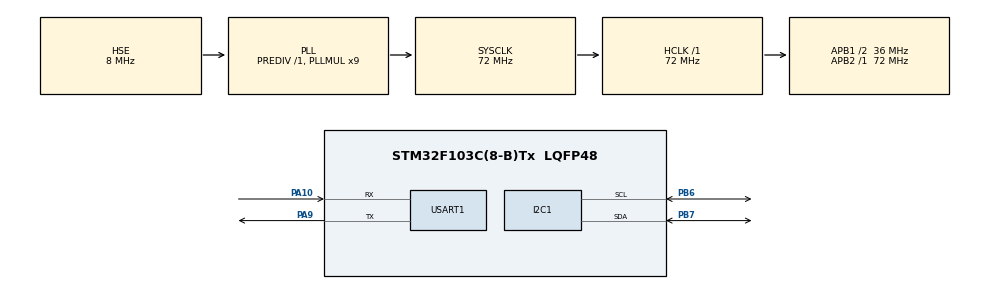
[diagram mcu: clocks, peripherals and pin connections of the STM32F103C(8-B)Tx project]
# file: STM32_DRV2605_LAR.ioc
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Mcu.Family=STM32F1
Mcu.Name=STM32F103C(8-B)Tx
Mcu.Package=LQFP48
NVIC.PriorityGroup=NVIC_PRIORITYGROUP_4
NVIC.USART1_IRQn=true\:0\:0\:false\:false\:true\:true\:true
PA10.Mode=Asynchronous
PA10.Signal=USART1_RX
PA13.Mode=Serial_Wire
PA13.Signal=SYS_JTMS-SWDIO
PA14.Mode=Serial_Wire
PA14.Signal=SYS_JTCK-SWCLK
PA9.Mode=Asynchronous
PA9.Signal=USART1_TX
PB6.Mode=I2C
PB6.Signal=I2C1_SCL
PB7.Mode=I2C
PB7.Signal=I2C1_SDA
PC14-OSC32_IN.Mode=LSE-External-Oscillator
PC14-OSC32_IN.Signal=RCC_OSC32_IN
PC15-OSC32_OUT.Mode=LSE-External-Oscillator
PC15-OSC32_OUT.Signal=RCC_OSC32_OUT
PD0-OSC_IN.Mode=HSE-External-Oscillator
PD0-OSC_IN.Signal=RCC_OSC_IN
PD1-OSC_OUT.Mode=HSE-External-Oscillator
PD1-OSC_OUT.Signal=RCC_OSC_OUT
ProjectManager.HeapSize=0x200
ProjectManager.StackSize=0x400
ProjectManager.TargetToolchain=STM32CubeIDE
RCC.AHBFreq_Value=72000000
RCC.APB1CLKDivider=RCC_HCLK_DIV2
RCC.APB1Freq_Value=36000000
RCC.APB1TimFreq_Value=72000000
RCC.APB2Freq_Value=72000000
RCC.APB2TimFreq_Value=72000000
RCC.HCLKFreq_Value=72000000
RCC.PLLMUL=RCC_PLL_MUL9
RCC.PLLSourceVirtual=RCC_PLLSOURCE_HSE
RCC.SYSCLKFreq_VALUE=72000000
RCC.SYSCLKSource=RCC_SYSCLKSOURCE_PLLCLK
RCC.USBFreq_Value=72000000
USART1.VirtualMode=VM_ASYNC
board=custom

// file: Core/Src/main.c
/* USER CODE BEGIN Header */
/**
  ******************************************************************************
  * @file           : main.c
  * @brief          : Main program body
  ******************************************************************************
  * @attention
  *
  * <h2><center>&copy; Copyright (c) 2025 STMicroelectronics.
  * All rights reserved.</center></h2>
  *
  * This software component is licensed by ST under BSD 3-Clause license,
  * the "License"; You may not use this file except in compliance with the
  * License. You may obtain a copy of the License at:
  *                        opensource.org/licenses/BSD-3-Clause
  *
  ******************************************************************************
  */
/* USER CODE END Header */
#include "main.h"
#include "i2c.h"
#include "usart.h"
#include "gpio.h"

/* USER CODE BEGIN Includes */
#include "drv2605_simple.h"
/* USER CODE END Includes */

void SystemClock_Config(void);

/* USER CODE BEGIN 0 */
// 重定向printf
#ifdef __GNUC__
#define PUTCHAR_PROTOTYPE int __io_putchar(int ch)
#else
#define PUTCHAR_PROTOTYPE int fputc(int ch, FILE *f)
#endif

PUTCHAR_PROTOTYPE
{
    HAL_UART_Transmit(&huart1, (uint8_t *)&ch, 1, HAL_MAX_DELAY);
    return ch;
}
/* USER CODE END 0 */

int main(void)
{
  /* USER CODE BEGIN 1 */
	// 在main函数开始处
	printf("DRV2605简单测试开始\r\n");

	// 检查I2C通信
	uint8_t dev_id;
	if(HAL_I2C_Mem_Read(&hi2c1, DRV2605_ADDR, 0x00, 1, &dev_id, 1, 100) == HAL_OK)
	{
	    printf("设备ID: 0x%02X (应该是0x06或0x07)\r\n", dev_id);
	}
	else
	{
	    printf("I2C通信失败！检查接线\r\n");
	}
  /* USER CODE END 1 */

  /* MCU Configuration--------------------------------------------------------*/

  /* Reset of all peripherals, Initializes the Flash interface and the Systick. */
  HAL_Init();

  /* Configure the system clock */
  SystemClock_Config();

  /* Initialize all configured peripherals */
  MX_GPIO_Init();
  MX_I2C1_Init();
  MX_USART1_UART_Init();
  /* USER CODE BEGIN 2 */
  // 初始化DRV2605
  if(DRV2605_SimpleInit(&hi2c1))
  {
      printf("DRV2605初始化成功！\r\n");
  }
  else
  {
      printf("DRV2605初始化失败！\r\n");
      while(1); // 停止在这里
  }
  /* USER CODE END 2 */

  /* Infinite loop */
  while (1)
  {
      printf("开始振动测试...\r\n");

      // 高强度振动
      DRV2605_SimpleVibrate(&hi2c1, 0x7F);
      HAL_Delay(1000);

      // 停止振动
      DRV2605_SimpleVibrate(&hi2c1, 0x00);
      HAL_Delay(500);

      // 中等强度振动
      DRV2605_SimpleVibrate(&hi2c1, 0x50);
      HAL_Delay(1000);

      // 停止振动
      DRV2605_SimpleVibrate(&hi2c1, 0x00);
      HAL_Delay(500);

  }
}

void SystemClock_Config(void)
{
  RCC_OscInitTypeDef RCC_OscInitStruct = {0};
  RCC_ClkInitTypeDef RCC_ClkInitStruct = {0};

  /** Initializes the RCC Oscillators according to the specified parameters
  * in the RCC_OscInitTypeDef structure.
  */
  RCC_OscInitStruct.OscillatorType = RCC_OSCILLATORTYPE_HSE;
  RCC_OscInitStruct.HSEState = RCC_HSE_ON;
  RCC_OscInitStruct.HSEPredivValue = RCC_HSE_PREDIV_DIV1;
  RCC_OscInitStruct.HSIState = RCC_HSI_ON;
  RCC_OscInitStruct.PLL.PLLState = RCC_PLL_ON;
  RCC_OscInitStruct.PLL.PLLSource = RCC_PLLSOURCE_HSE;
  RCC_OscInitStruct.PLL.PLLMUL = RCC_PLL_MUL9;
  if (HAL_RCC_OscConfig(&RCC_OscInitStruct) != HAL_OK)
  {
    Error_Handler();
  }
  /** Initializes the CPU, AHB and APB buses clocks
  */
  RCC_ClkInitStruct.ClockType = RCC_CLOCKTYPE_HCLK|RCC_CLOCKTYPE_SYSCLK
                              |RCC_CLOCKTYPE_PCLK1|RCC_CLOCKTYPE_PCLK2;
  RCC_ClkInitStruct.SYSCLKSource = RCC_SYSCLKSOURCE_PLLCLK;
  RCC_ClkInitStruct.AHBCLKDivider = RCC_SYSCLK_DIV1;
  RCC_ClkInitStruct.APB1CLKDivider = RCC_HCLK_DIV2;
  RCC_ClkInitStruct.APB2CLKDivider = RCC_HCLK_DIV1;

  if (HAL_RCC_ClockConfig(&RCC_ClkInitStruct, FLASH_LATENCY_2) != HAL_OK)
  {
    Error_Handler();
  }
}

void Error_Handler(void)
{
  __disable_irq();
  while (1)
  {
  }
}

/************************ (C) COPYRIGHT STMicroelectronics *****END OF FILE****/
